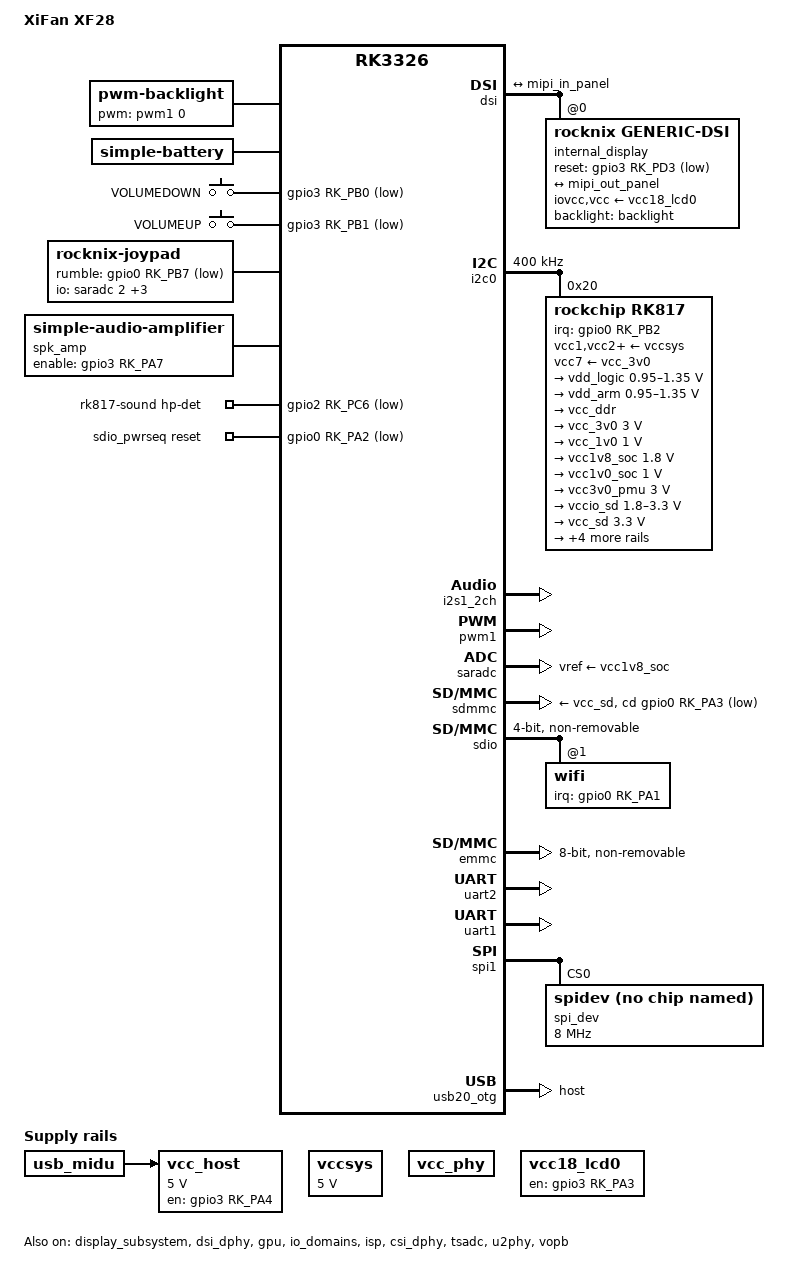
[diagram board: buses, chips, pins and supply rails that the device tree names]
// SPDX-License-Identifier: (GPL-2.0+ OR MIT)
/*
 * Copyright (c) 2019 Hardkernel Co., Ltd
 * Copyright (c) 2020 Theobroma Systems Design und Consulting GmbH
 * Copyright (c) 2022 Maya Matuszczyk <maccraft123mc@gmail.com>
 */

/dts-v1/;
#include <dt-bindings/gpio/gpio.h>
#include <dt-bindings/input/input.h>
#include <dt-bindings/leds/common.h>
#include <dt-bindings/pinctrl/rockchip.h>
#include "rk3326.dtsi"

/ {
    model = "XiFan XF28";
    compatible = "xifan,xf28", "rockchip,rk3326";
     
    aliases {
        mmc1 = &sdmmc;
	mmc0 = &emmc;
	mmc2 = &sdio;
    };

	chosen {
		systemd.debug_shell = "ttyS0";
	};

    backlight: backlight {
       compatible = "pwm-backlight";
       pwms = <&pwm1 0 25000 0>;
       brightness-levels = <
         0   1   2   3   4   5   6   7
         8   9  10  11  12  13  14  15
        16  17  18  19  20  21  22  23
        24  25  26  27  28  29  30  31
        32  33  34  35  36  37  38  39
        40  41  42  43  44  45  46  47
        48  49  50  51  52  53  54  55
        56  57  58  59  60  61  62  63
        64  65  66  67  68  69  70  71
        72  73  74  75  76  77  78  79
        80  81  82  83  84  85  86  87
        88  89  90  91  92  93  94  95
        96  97  98  99 100 101 102 103
       104 105 106 107 108 109 110 111
       112 113 114 115 116 117 118 119
       120 121 122 123 124 125 126 127
       128 129 130 131 132 133 134 135
       136 137 138 139 140 141 142 143
       144 145 146 147 148 149 150 151
       152 153 154 155 156 157 158 159
       160 161 162 163 164 165 166 167
       168 169 170 171 172 173 174 175
       176 177 178 179 180 181 182 183
       184 185 186 187 188 189 190 191
       192 193 194 195 196 197 198 199
       200 201 202 203 204 205 206 207
       208 209 210 211 212 213 214 215
       216 217 218 219 220 221 222 223
       224 225 226 227 228 229 230 231
       232 233 234 235 236 237 238 239
       240 241 242 243 244 245 246 247
       248 249 250 251 252 253 254 255>;
       default-brightness-level = <128>;
    };

    battery: battery {
        compatible = "simple-battery";
        charge-full-design-microamp-hours = <3000000>;
        charge-term-current-microamp = <200000>;
        constant-charge-current-max-microamp = <1500000>;
        constant-charge-voltage-max-microvolt = <4200000>;
        factory-internal-resistance-micro-ohms = <100000>;
        voltage-max-design-microvolt = <4100000>;
        voltage-min-design-microvolt = <3300000>;

        ocv-capacity-celsius = <20>;
        ocv-capacity-table-0 =  
            <4046950 100>, <4001920 95>, <3967900 90>, <3940000 85>,
            <3910000 80>, <3870000 75>, <3830000 70>, <3790000 65>,
            <3750000 60>, <3720000 55>, <3690000 50>, <3650000 45>,
            <3610000 40>, <3570000 35>, <3540000 30>, <3500000 25>,
            <3460000 20>, <3420000 15>, <3380000 10>, <3340000 5>,
            <3300000 0>;
    };
        gpio-keys-vol {
                compatible = "gpio-keys";
                autorepeat;
                pinctrl-0 = <&btn_pins_vol>;
                pinctrl-names = "default";

                button-vol-down {
			gpios = <&gpio3 RK_PB0 GPIO_ACTIVE_LOW>;
                        label = "VOLUMEDOWN";
                        linux,code = <KEY_VOLUMEDOWN>;
                };

                button-volume-up {
			gpios = <&gpio3 RK_PB1 GPIO_ACTIVE_LOW>;
                        label = "VOLUMEUP";
                        linux,code = <KEY_VOLUMEUP>;
                };
        };

 	joypad: rocknix-joypad {
		compatible = "rocknix-joypad";
		status = "okay";

		/* the following 4 dts entries starting from joypad-name are important to keep
		   compatibility with existing userspace programs such as ES and retroarch */
		joypad-name = "retrogame_joypad";
		joypad-product = <0x1101>;
		joypad-revision = <0x0100>;
		joypad-vendor = <0x484B>;

		/* analog mux define */
		io-channel-names = "key-RY", "key-RX","key-LY", "key-LX";
		io-channels = <&saradc 2>,<&saradc 1>,<&saradc 2>,<&saradc 1>;

		/* gpio pincontrol setup */
		pinctrl-names = "default";
		pinctrl-0 = <&btn_pins_ctrl>;

		rumble-gpio = <&gpio0 RK_PB7 GPIO_ACTIVE_LOW>;

		/* adc calculate scale */
		button-adc-scale = <2>;

		/* adc deadzone range  */
		button-adc-deadzone = <64>;

		/*
		  specifies fuzz value that is used to filter noise from
		  the event stream.
		*/
		button-adc-fuzz = <32>;
		button-adc-flat = <32>;

		/*
		  Analog Stick data tuning value(precent)
		  p = positive direction, n = negative direction
		  report value = (real_adc_data * tuning_value) / 100
		*/
		abs_x-p-tuning = <200>;
		abs_x-n-tuning = <200>;

		abs_y-p-tuning = <200>;
		abs_y-n-tuning = <200>;

		abs_rx-p-tuning = <200>;
		abs_rx-n-tuning = <200>;

		abs_ry-p-tuning = <200>;
		abs_ry-n-tuning = <200>;

		/* poll device interval (ms), adc read interval */
		poll-interval = <10>;

		/* required for RG351MP */
		invert-absx;
		invert-absy;
		skip-absr;
        abs-left-first;
    
        /* gpio button auto repeat set value : default disable */
        /*
        autorepeat;
        */

        /*
        *** MagicX XU10 - layoout ***
        |-------------------------------|
        | sw14  sw17         sw16  sw15 |
        |-----|-------------------|-----|
        |     |                   |     |
        |vol+ |                   | sw13|
        |vol- |                   |     |
        |     |    LCD Display    |     |
        |     |                   |     |
        |     |                   |     |
        |     |-------------------|     |
        |         sw9     sw10          |
        |                               |
        |     sw1              sw7      |
        |  sw3   sw4        sw8   sw6   |
        |     sw2              sw5      |
        |                               |
        |          sw11   sw12          |
        |                               |
        |-------|---------------|-------|
        */

       /*
           joypad driver is poll-device driver.
           poll-device is does not support wakeup-source.
       */
		sw1 {
			gpios = <&gpio3 RK_PC6 GPIO_ACTIVE_LOW>;
			label = "GPIO DPAD-UP";
			linux,code = <BTN_DPAD_UP>;
		};
		sw2 {
			gpios = <&gpio3 RK_PC7 GPIO_ACTIVE_LOW>;
			label = "GPIO DPAD-DOWN";
			linux,code = <BTN_DPAD_DOWN>;
		};
		sw3 {
			gpios = <&gpio3 RK_PC4 GPIO_ACTIVE_LOW>;
			label = "GPIO DPAD-LEFT";
			linux,code = <BTN_DPAD_LEFT>;
		};
		sw4 {
			gpios = <&gpio3 RK_PC5 GPIO_ACTIVE_LOW>;
			label = "GPIO DPAD-RIGHT";
			linux,code = <BTN_DPAD_RIGHT>;
		};
		sw5 {
			gpios = <&gpio3 RK_PC0 GPIO_ACTIVE_LOW>;
			label = "GPIO BTN-A";
			linux,code = <BTN_EAST>;
		};
		sw6 {
			gpios = <&gpio3 RK_PC1 GPIO_ACTIVE_LOW> ;
			label = "GPIO BTN-B";
			linux,code = <BTN_SOUTH>;
		};
		sw7 {
			gpios = <&gpio3 RK_PC3 GPIO_ACTIVE_LOW>;
			label = "GPIO BTN-Y";
			linux,code = <BTN_WEST>;
		};
		sw8 {
			gpios = <&gpio3 RK_PC2 GPIO_ACTIVE_LOW>;
			label = "GPIO BTN-X";
			linux,code = <BTN_NORTH>;
		};
		sw9 {
			gpios = <&gpio3 RK_PD0 GPIO_ACTIVE_LOW>;
			label = "BTN_SELECT";
			linux,code = <BTN_SELECT>;
		};
		sw10 {
			gpios = <&gpio3 RK_PD1 GPIO_ACTIVE_LOW>;
			label = "BTN_START";
			linux,code = <BTN_START>;
		};
		/* this sw11 entry is SPECIAL, most RK3566 devices do not have
		   this physical button but for the sake of keeping compatibility
		   with ES and retroarch, this phantom button and offset will
		   allow existing userspace programs to work without doing any
		   new remapping thus saving lots of headaches and extra work */
		sw11 {
			gpios = <&gpio3 RK_PD2 GPIO_ACTIVE_LOW>;
			label = "GPIO BTN_F";
			linux,code = <BTN_MODE>;
		};
		sw12 {
			gpios = <&gpio2 RK_PB5 GPIO_ACTIVE_LOW>;
			label = "BTN_THUMBL";
			linux,code = <BTN_THUMBL>;
		};
		sw13 {
			gpios = <&gpio2 RK_PB6 GPIO_ACTIVE_LOW>;
			label = "BTN_THUMBR";
			linux,code = <BTN_THUMBR>;
		};
		sw14 {
			gpios = <&gpio3 RK_PB3 GPIO_ACTIVE_LOW>;
			label = "GPIO BTN_TR";
			linux,code = <BTN_TR>;
		};
		sw15 {
			gpios = <&gpio3 RK_PA0 GPIO_ACTIVE_LOW>;
			label = "GPIO BTN_TR2";
			linux,code = <BTN_TR2>;
		};
		sw16 {
			gpios = <&gpio3 RK_PB5 GPIO_ACTIVE_LOW>;
			label = "GPIO BTN_TL";
			linux,code = <BTN_TL>;
		};
		sw17 {
			gpios = <&gpio3 RK_PA6 GPIO_ACTIVE_LOW>;
			label = "GPIO BTN_TL2";
			linux,code = <BTN_TL2>;
		};
	};

	spk_amp: audio-amplifier {
		compatible = "simple-audio-amplifier";
		enable-gpios = <&gpio3 RK_PA7 GPIO_ACTIVE_HIGH>;
		pinctrl-0 = <&spk_amp_enable_h>;
		pinctrl-names = "default";
		sound-name-prefix = "Speaker Amp";
	};

    rk817-sound {
       compatible = "simple-audio-card";
       pinctrl-names = "default";
       pinctrl-0 = <&hp_det>;
       simple-audio-card,name = "rk817_ext";
       simple-audio-card,aux-devs = <&spk_amp>;
       simple-audio-card,format = "i2s";
       simple-audio-card,hp-det-gpio = <&gpio2 RK_PC6 GPIO_ACTIVE_LOW>;
       simple-audio-card,mclk-fs = <256>;
       simple-audio-card,widgets =
           "Microphone", "Mic Jack",
           "Headphone", "Headphones",
           "Speaker", "Speaker";
       simple-audio-card,routing =
           "MICL", "Mic Jack",
           "Headphones", "HPOL",
           "Headphones", "HPOR",
           "Speaker", "SPKO";

       simple-audio-card,codec {
           sound-dai = <&rk817>;
       };

       simple-audio-card,cpu {
           sound-dai = <&i2s1_2ch>;
       };
    };

    vccsys: vccsys {
       compatible = "regulator-fixed";
       regulator-name = "vcc3v8_sys";
       regulator-always-on;
       regulator-boot-on;
       regulator-min-microvolt = <5000000>;
       regulator-max-microvolt = <5000000>;
    };

	vcc-phy-regulator {
		compatible = "regulator-fixed";
		regulator-name = "vcc_phy";
		regulator-always-on;
		regulator-boot-on;
	};

	vcc18_lcd0: vcc18-lcd0 {
		compatible = "regulator-fixed";
		regulator-name = "vcc18_lcd0_n";
		gpio = <&gpio3 RK_PA3 GPIO_ACTIVE_HIGH>;
		enable-active-high;
		pinctrl-0 = <&vcc18_lcd_n>;
		pinctrl-names = "default";
		regulator-boot-on;

		regulator-state-mem {
			regulator-off-in-suspend;
		};
	};
    
    vcc_host: vcc_host {
        compatible = "regulator-fixed";
        regulator-name = "vcc_host";
        regulator-min-microvolt = <5000000>;
        regulator-max-microvolt = <5000000>;
        gpio = <&gpio3 RK_PA4 GPIO_ACTIVE_HIGH>;
	pinctrl-0 = <&vcc5_usb>;
	pinctrl-names = "default";
        enable-active-high;
        regulator-always-on;
        regulator-boot-on;
        vin-supply = <&usb_midu>;
    };

	sdio_pwrseq: sdio-pwrseq {
		compatible = "mmc-pwrseq-simple";
		/*clocks = <&rk817 1>;
		clock-names = "ext_clock";
		*/
		pinctrl-0 = <&wifi_enable_h>;
		pinctrl-names = "default";
		post-power-on-delay-ms = <2000>;
		reset-gpios = <&gpio0 RK_PA2 GPIO_ACTIVE_LOW>;
	};
};

&dmc {
    center-supply = <&vdd_logic>;
};

&cpu0 {
    cpu-supply = <&vdd_arm>;
};

&cpu1 {
    cpu-supply = <&vdd_arm>;
};

&cpu2 {
    cpu-supply = <&vdd_arm>;
};

&cpu3 {
    cpu-supply = <&vdd_arm>;
};

&cru {
    assigned-clocks = <&cru PLL_NPLL>,
        <&cru ACLK_BUS_PRE>, <&cru ACLK_PERI_PRE>,
        <&cru HCLK_BUS_PRE>, <&cru HCLK_PERI_PRE>,
        <&cru PCLK_BUS_PRE>, <&cru SCLK_GPU>;

    assigned-clock-rates = <1188000000>,
        <200000000>, <200000000>,
        <150000000>, <150000000>,
        <100000000>, <200000000>;
};

&display_subsystem {
    status = "okay";
};

&dsi {
    status = "okay";

    ports {
        mipi_out: port@1 {
          reg = <1>;

          mipi_out_panel: endpoint {
              remote-endpoint = <&mipi_in_panel>;
          };
        };
    };

    internal_display: panel@0 {
	compatible = "rocknix,generic-dsi";
        iovcc-supply = <&vcc18_lcd0>;
        vcc-supply = <&vcc18_lcd0>;
	rotation = <0x5a>;
        reg = <0>;
        backlight = <&backlight>;
        reset-gpios = <&gpio3 RK_PD3 GPIO_ACTIVE_LOW>;
        pinctrl-names = "default";
        pinctrl-0 = <&lcd_rst>;
panel_description = "G size=153,85 delays=20,20,20,120,20 format=rgb888 lanes=2 flags=0xe03\0M clock=23000 horizontal=480,46,2,44 vertical=640,16,2,14 default=1\0M clock=23000 horizontal=480,46,28,44 vertical=640,16,100,14\0M clock=23000 horizontal=480,46,5,44 vertical=640,16,130,14\0M clock=23920 horizontal=480,46,7,44 vertical=640,16,159,14\0M clock=23460 horizontal=480,46,30,44 vertical=640,16,10,14\0M clock=24140 horizontal=480,46,27,44 vertical=640,16,7,14\0M clock=24300 horizontal=480,46,15,44 vertical=640,16,23,14\0M clock=23460 horizontal=480,46,5,44 vertical=640,16,10,14\0M clock=26230 horizontal=480,46,23,44 vertical=640,16,66,14\0M clock=35210 horizontal=480,46,11,44 vertical=640,16,133,14\0M clock=35190 horizontal=480,46,5,44 vertical=640,16,10,14\0M clock=46920 horizontal=480,46,5,44 vertical=640,16,10,14\0I seq=ff30\0I seq=ff49\0I seq=ff01\0I seq=e200\0I seq=1110\0I seq=1410\0I seq=3b00\0I seq=4132\0I seq=4502\0I seq=467f\0I seq=513c\0I seq=5201\0I seq=5322\0I seq=5480\0I seq=5580\0I seq=5610\0I seq=5737\0I seq=5900\0I seq=5a00\0I seq=5b82\0I seq=5c60\0I seq=79fe\0I seq=7d08\0I seq=9002\0I seq=9100\0I seq=940e\0I seq=9606\0I seq=c867\0I seq=cab2\0I seq=cc5e\0I seq=ce03\0I seq=a124\0I seq=b526\0I seq=a220\0I seq=b624\0I seq=a511\0I seq=b915\0I seq=a60f\0I seq=ba0b\0I seq=a340\0I seq=b740\0I seq=a444\0I seq=b844\0I seq=a80e\0I seq=bc0f\0I seq=a914\0I seq=bd10\0I seq=aa14\0I seq=be10\0I seq=ab12\0I seq=bf12\0I seq=ac12\0I seq=c010\0I seq=ad14\0I seq=c110\0I seq=ae12\0I seq=c20e\0I seq=af10\0I seq=c30e\0I seq=b011\0I seq=c40d\0I seq=b10b\0I seq=c505\0I seq=a039\0I seq=b439\0I seq=a70a\0I seq=bb0a\0I seq=ff30\0I seq=ff49\0I seq=ff02\0I seq=5022\0I seq=517f\0I seq=527f\0I seq=6715\0I seq=68df\0I seq=699f\0I seq=ff30\0I seq=ff49\0I seq=ff03\0I seq=0022\0I seq=0180\0I seq=0282\0I seq=0f22\0I seq=1081\0I seq=1183\0I seq=2788\0I seq=2805\0I seq=2903\0I seq=3688\0I seq=3704\0I seq=3802\0I seq=7b30\0I seq=8083\0I seq=8132\0I seq=8279\0I seq=8305\0I seq=8490\0I seq=8590\0I seq=8882\0I seq=8932\0I seq=8a7a\0I seq=8b11\0I seq=8c90\0I seq=8d90\0I seq=8e81\0I seq=8f32\0I seq=907b\0I seq=9111\0I seq=9290\0I seq=9390\0I seq=9480\0I seq=9532\0I seq=967c\0I seq=9711\0I seq=9890\0I seq=9990\0I seq=9a01\0I seq=9b32\0I seq=9c7d\0I seq=9d05\0I seq=9e90\0I seq=9f90\0I seq=a202\0I seq=a332\0I seq=a47e\0I seq=a511\0I seq=a690\0I seq=a790\0I seq=a803\0I seq=a932\0I seq=aa7f\0I seq=ab11\0I seq=ac90\0I seq=ad90\0I seq=ae04\0I seq=af32\0I seq=b080\0I seq=b111\0I seq=b290\0I seq=b390\0I seq=f740\0I seq=f840\0I seq=d01f\0I seq=d11f\0I seq=d205\0I seq=d30b\0I seq=d40d\0I seq=d50f\0I seq=d611\0I seq=d71f\0I seq=d81b\0I seq=d91a\0I seq=da01\0I seq=db1f\0I seq=dc1f\0I seq=dd1f\0I seq=de1f\0I seq=df1f\0I seq=e01f\0I seq=e11f\0I seq=e21f\0I seq=e31f\0I seq=e41f\0I seq=e500\0I seq=e61a\0I seq=e71b\0I seq=e81f\0I seq=e910\0I seq=ea0e\0I seq=eb0c\0I seq=ec0a\0I seq=ed04\0I seq=ee1f\0I seq=ef1f\0I seq=ff30\0I seq=ff49\0I seq=ff00\0I seq=3500\0I seq=11 wait=120\0I seq=29 wait=20";
        port {
            mipi_in_panel: endpoint {
                remote-endpoint = <&mipi_out_panel>;
            };
        };
    };
};

&dsi_dphy {
    status = "okay";
};

&gpu {
    mali-supply = <&vdd_logic>;
    status = "okay";
};

&i2c0 {
    clock-frequency = <400000>;
    i2c-scl-falling-time-ns = <16>;
    i2c-scl-rising-time-ns = <280>;
    status = "okay";

    rk817: pmic@20 {
        compatible = "rockchip,rk817";
        reg = <0x20>;
        interrupt-parent = <&gpio0>;
        interrupts = <RK_PB2 IRQ_TYPE_LEVEL_LOW>;
        clock-output-names = "rk808-clkout1", "xin32k";
        clock-names = "mclk";
        clocks = <&cru SCLK_I2S1_OUT>;
        pinctrl-names = "default";
        pinctrl-0 = <&pmic_int>, <&i2s1_2ch_mclk>;
        rockchip,system-power-controller;
        wakeup-source;
        #clock-cells = <1>;
        #sound-dai-cells = <0>;

        vcc1-supply = <&vccsys>;
        vcc2-supply = <&vccsys>;
        vcc3-supply = <&vccsys>;
        vcc4-supply = <&vccsys>;
        vcc5-supply = <&vccsys>;
        vcc6-supply = <&vccsys>;
        vcc7-supply = <&vcc_3v0>;
        vcc8-supply = <&vccsys>;

    regulators {
        vdd_logic: DCDC_REG1 {
              regulator-name = "vdd_logic";
              regulator-min-microvolt = <950000>;
              regulator-max-microvolt = <1350000>;
	      regulator-initial-mode = <0x02>;
              regulator-ramp-delay = <6001>;
              regulator-always-on;
              regulator-boot-on;

              regulator-state-mem {
                  regulator-on-in-suspend;
                  regulator-suspend-microvolt = <950000>;
              };
        };

        vdd_arm: DCDC_REG2 {
              regulator-name = "vdd_arm";
              regulator-min-microvolt = <950000>;
              regulator-max-microvolt = <1350000>;
              regulator-ramp-delay = <6001>;
	      regulator-initial-mode = <0x02>;
              regulator-always-on;
              regulator-boot-on;

              regulator-state-mem {
                  regulator-off-in-suspend;
                  regulator-suspend-microvolt = <950000>;
              };
        };

        vcc_ddr: DCDC_REG3 {
              regulator-name = "vcc_ddr";
              regulator-always-on;
              regulator-boot-on;
	      regulator-initial-mode = <0x02>;

              regulator-state-mem {
                  regulator-on-in-suspend;
              };
        };

        vcc_3v0: DCDC_REG4 {
              regulator-name = "vcc_3v0";
              regulator-min-microvolt = <3000000>;
              regulator-max-microvolt = <3000000>;
	      regulator-initial-mode = <0x02>;
              regulator-always-on;
              regulator-boot-on;

              regulator-state-mem {
                  regulator-off-in-suspend;
                  regulator-suspend-microvolt = <3000000>;
              };
        };

        vcc_1v0: LDO_REG1 {
              regulator-name = "vcc_1v0";
              regulator-always-on;
              regulator-boot-on;
              regulator-min-microvolt = <1000000>;
              regulator-max-microvolt = <1000000>;

              regulator-state-mem {
                  regulator-on-in-suspend;
                  regulator-suspend-microvolt = <1000000>;
              };
        };

        vcc1v8_soc: LDO_REG2 {
              regulator-name = "vcc1v8_soc";
              regulator-min-microvolt = <1800000>;
              regulator-max-microvolt = <1800000>;
              regulator-always-on;
              regulator-boot-on;

              regulator-state-mem {
                  regulator-on-in-suspend;
                  regulator-suspend-microvolt = <1800000>;
              };
        };

        vcc1v0_soc: LDO_REG3 {
              regulator-name = "vcc1v0_soc";
              regulator-min-microvolt = <1000000>;
              regulator-max-microvolt = <1000000>;
              regulator-always-on;
              regulator-boot-on;

              regulator-state-mem {
                  regulator-on-in-suspend;
                  regulator-suspend-microvolt = <1000000>;
              };
        };

        vcc3v0_pmu: LDO_REG4 {
              regulator-name = "vcc3v0_pmu";
              regulator-min-microvolt = <3000000>;
              regulator-max-microvolt = <3000000>;
              regulator-always-on;
              regulator-boot-on;

              regulator-state-mem {
                  regulator-on-in-suspend;
                  regulator-suspend-microvolt = <3000000>;
              };
        };

        vccio_sd: LDO_REG5 {
              regulator-name = "vccio_sd";
              regulator-min-microvolt = <1800000>;
              regulator-max-microvolt = <3300000>;
              regulator-always-on;
              regulator-boot-on;

              regulator-state-mem {
                  regulator-on-in-suspend;
                  regulator-suspend-microvolt = <3300000>;
              };
        };

        vcc_sd: LDO_REG6 {
              regulator-name = "vcc_sd";
              regulator-min-microvolt = <3300000>;
              regulator-max-microvolt = <3300000>;

              regulator-state-mem {
                  regulator-on-in-suspend;
                  regulator-suspend-microvolt = <3300000>;
              };
        };

        vcc2v8_dvp: LDO_REG7 {
              regulator-name = "vcc2v8_dvp";
              regulator-min-microvolt = <1800000>;
              regulator-max-microvolt = <3300000>;
              regulator-always-on;
              regulator-boot-on;

              regulator-state-mem {
              regulator-on-in-suspend;
                  regulator-suspend-microvolt = <3300000>;
              };
        };

        vcc3v0_dvp: LDO_REG8 {
              regulator-name = "vcc3v0_dvp";
              regulator-min-microvolt = <3300000>;
              regulator-max-microvolt = <3300000>;
              regulator-always-on;
              regulator-boot-on;

              regulator-state-mem {
                  regulator-on-in-suspend;
                  regulator-suspend-microvolt = <3300000>;
              };
        };

        vdd1v5_dvp: LDO_REG9 {
              regulator-min-microvolt = <1500000>;
              regulator-max-microvolt = <1500000>;
              regulator-name = "vdd1v5_dvp";
              regulator-always-on;
              regulator-boot-on;

              regulator-state-mem {
                  regulator-off-in-suspend;
                  regulator-suspend-microvolt = <1500000>;
              };
        };

        usb_midu: BOOST {
              regulator-name = "usb_midu";
              regulator-min-microvolt = <4700000>;
              regulator-max-microvolt = <5400000>;
              regulator-always-on;
              regulator-boot-on;
        };

    };

    rk817_charger: charger {
         monitored-battery = <&battery>;
         rockchip,resistor-sense-micro-ohms = <10000>;
         rockchip,sleep-enter-current-microamp = <300000>;
         rockchip,sleep-filter-current-microamp = <100000>;
    };

    rk817_codec: codec {
         rockchip,mic-in-differential;
    };
  };
};

/* I2S 1 Channel Used Header(P2):1(GPIO2.C3),2(.C2), 3(.C1), 4(.C5), 5(.C4) */
&i2s1_2ch {
    status = "okay";
    #sound-dai-cells = <0>;
};

&io_domains {
    vccio1-supply = <&vcc2v8_dvp>;
    vccio2-supply = <&vccio_sd>;
    vccio3-supply = <&vcc1v8_soc>;
    vccio4-supply = <&vcc_3v0>;
    vccio5-supply = <&vcc_3v0>;
    vccio6-supply = <&vcc1v8_soc>;
    status = "okay";
};

&isp {
    status = "okay";
};

&isp_mmu {
    status = "okay";
};

&pmu_io_domains {
    pmuio1-supply = <&vcc3v0_pmu>;
    pmuio2-supply = <&vcc3v0_pmu>;
    status = "okay";
};

&csi_dphy {
    status = "okay";
};

&pwm1 {
    status = "okay";
};

&saradc {
    vref-supply = <&vcc1v8_soc>;
    status = "okay";
};

&sdmmc {
    cap-sd-highspeed;
    card-detect-delay = <200>;
    cd-gpios = <&gpio0 RK_PA3 GPIO_ACTIVE_LOW>; /*[> ff370000 PD_SDCARD CD GPIO <]*/
    sd-uhs-sdr12;
    sd-uhs-sdr25;
    sd-uhs-sdr50;
    sd-uhs-sdr104;
    vmmc-supply = <&vcc_sd>;
    vqmmc-supply = <&vccio_sd>;
    status = "okay";
};

&sdio {
	bus-width = <4>;
	disable-wp;
	max-frequency = <0x2faf080>;
	keep-power-in-suspend;
	mmc-pwrseq = <&sdio_pwrseq>;
	no-mmc;
	no-sd;
	cap-sdio-irq;
	non-removable;
	cap-sd-highspeed;
	supports-sdio;
	supports-rk912;
	status = "okay";
    wifi@1 {
        reg = <1>;
        interrupt-names = "host-wake";
        interrupt-parent = <&gpio0>;
        interrupts = <RK_PA1 IRQ_TYPE_LEVEL_HIGH>;
        pinctrl-0 = <&wifi_host_wake_l>;
        pinctrl-names = "default";
    };
};

&emmc {
	no-sdio;
	no-sd;
	disable-wp;
	cap-mmc-highspeed;
	non-removable;
	bus-width = <0x08>;
	fifo-depth = <0x100>;
	max-frequency = <0x8f0d180>;
	num-slots = <0x01>; 
	status = "okay";
};

&tsadc {
    status = "okay";
};

&u2phy {
    status = "okay";

    u2phy_host: host-port {
        status = "okay";
    };

    u2phy_otg: otg-port {
        status = "okay";
    };
};

/* FIQ Header(P2): 2(RXD:GPIO2.B4),3(TXD:.B6) */
&uart2 {
    status = "okay";
    dma-names = "tx";
    pinctrl-0 = <&uart2m1_xfer>;
};

&uart1 {
    status = "okay";
};

&spi1 {
    status = "okay";
    pinctrl-0 = <&spi1_clk &spi1_csn1 &spi1_miso &spi1_mosi>;
    spi_dev@0 {
        compatible = "rohm,dh2228fv";
        reg = <0x00>;
        spi-max-frequency = <0x7a1200>;
	status = "okay";
    };
};


&usb20_otg {
    status = "okay";
    dr_mode = "host";
};

&vopb {
    status = "okay";
};

&vopb_mmu {
    status = "okay";
};

&uart2m1_xfer {
	    rockchip,pins = <2 RK_PB4 2 &pcfg_pull_up>;
};

&pinctrl {
      btns {
	btn_pins_ctrl: btn-pins-ctrl {
		rockchip,pins =
			<3 RK_PC6 RK_FUNC_GPIO &pcfg_pull_up>,
			<3 RK_PC7 RK_FUNC_GPIO &pcfg_pull_up>,
			<3 RK_PC0 RK_FUNC_GPIO &pcfg_pull_up>,
			<3 RK_PC1 RK_FUNC_GPIO &pcfg_pull_up>,
			<3 RK_PC2 RK_FUNC_GPIO &pcfg_pull_up>,
			<3 RK_PC3 RK_FUNC_GPIO &pcfg_pull_up>,
			<3 RK_PC4 RK_FUNC_GPIO &pcfg_pull_up>,
			<3 RK_PC5 RK_FUNC_GPIO &pcfg_pull_up>,
			<3 RK_PD1 RK_FUNC_GPIO &pcfg_pull_up>,
			<3 RK_PA6 RK_FUNC_GPIO &pcfg_pull_up>,
			<3 RK_PD0 RK_FUNC_GPIO &pcfg_pull_up>,
			<3 RK_PB3 RK_FUNC_GPIO &pcfg_pull_up>,
			<3 RK_PA0 RK_FUNC_GPIO &pcfg_pull_up>,
			<3 RK_PB5 RK_FUNC_GPIO &pcfg_pull_up>,
			<3 RK_PD2 RK_FUNC_GPIO &pcfg_pull_up>,
			<2 RK_PB3 RK_FUNC_GPIO &pcfg_pull_up>,
			<2 RK_PB5 RK_FUNC_GPIO &pcfg_pull_up>,
			<2 RK_PB6 RK_FUNC_GPIO &pcfg_pull_up>,
			<2 RK_PC0 RK_FUNC_GPIO &pcfg_pull_up>,
			<2 RK_PB7 RK_FUNC_GPIO &pcfg_pull_up>,
			<0 RK_PB7 RK_FUNC_GPIO &pcfg_pull_down>;
	};
         btn_pins_vol: btn-pins-vol {
                 rockchip,pins = <3 RK_PB0 RK_FUNC_GPIO &pcfg_pull_up>,
                                 <3 RK_PB1 RK_FUNC_GPIO &pcfg_pull_up>;
         };
      };

    headphone {
        hp_det: hp-det {
            rockchip,pins = <2 RK_PC6 RK_FUNC_GPIO &pcfg_pull_up>;
        };
    };

    gpio-lcd {
        lcd_rst: lcd-rst {
            rockchip,pins = <3 RK_PD3 RK_FUNC_GPIO &pcfg_pull_none>;
        };
    };

    vcc18-lcd {
        vcc18_lcd_n: vcc18-lcd-n {
            rockchip,pins = <3 RK_PA3 RK_FUNC_GPIO &pcfg_pull_none>;
        };
    };

    vcc5-usb {
        vcc5_usb: vcc5-usb {
            rockchip,pins = <3 RK_PA4 RK_FUNC_GPIO &pcfg_pull_none>;
        };
    };

    gpio-led {
        led_pins: led-pins {
            rockchip,pins =
                <0 RK_PC1 RK_FUNC_GPIO &pcfg_pull_none>,
                <0 RK_PA0 RK_FUNC_GPIO &pcfg_pull_none>;
        };
    };

    pmic {
        dc_det: dc-det {
            rockchip,pins = <0 RK_PB3 RK_FUNC_GPIO &pcfg_pull_none>;
        };

        pmic_int: pmic-int {
            rockchip,pins = <0 RK_PB2 RK_FUNC_GPIO &pcfg_pull_up>;
        };

        soc_slppin_gpio: soc_slppin_gpio {
            rockchip,pins = <0 RK_PA4 RK_FUNC_GPIO &pcfg_output_low>;
        };

        soc_slppin_rst: soc_slppin_rst {
            rockchip,pins = <0 RK_PA4 2 &pcfg_pull_none>;
        };

        soc_slppin_slp: soc_slppin_slp {
            rockchip,pins = <0 RK_PA4 1 &pcfg_pull_none>;
        };
   };

	sdio-pwrseq {
		wifi_enable_h: wifi-enable-h {
			rockchip,pins =
				<0 RK_PA2 RK_FUNC_GPIO &pcfg_pull_none>;
		};
	        wifi_host_wake_l: wifi-host-wake-l {
	            rockchip,pins = <0 RK_PA1 RK_FUNC_GPIO &pcfg_pull_down>;
	        };
	};
	speaker {
		spk_amp_enable_h: spk-amp-enable-h {
			rockchip,pins =
				<3 RK_PA7 RK_FUNC_GPIO &pcfg_pull_up>;
		};
	};
};
